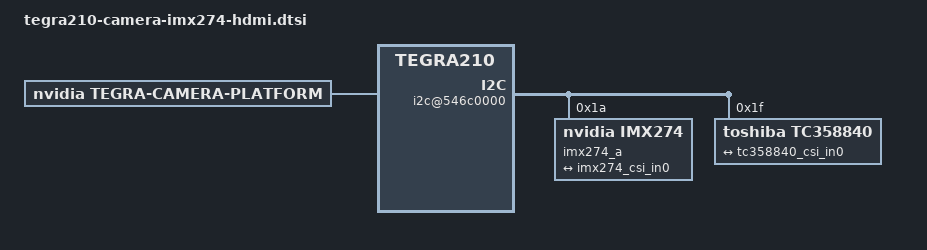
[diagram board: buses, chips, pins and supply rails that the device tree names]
/*
 * Copyright (c) 2016-2019, NVIDIA CORPORATION.  All rights reserved.
 *
 * This program is free software; you can redistribute it and/or modify
 * it under the terms of the GNU General Public License as published by
 * the Free Software Foundation; either version 2 of the License, or
 * (at your option) any later version.
 *
 * This program is distributed in the hope that it will be useful, but WITHOUT
 * ANY WARRANTY; without even the implied warranty of MERCHANTABILITY or
 * FITNESS FOR A PARTICULAR PURPOSE.  See the GNU General Public License for
 * more details.
 *
 * You should have received a copy of the GNU General Public License
 * along with this program.  If not, see <http://www.gnu.org/licenses/>.
 */

#include <dt-bindings/media/camera.h>
#include <dt-bindings/platform/t210/t210.h>

/ {
	host1x {
		vi {
			num-channels = <2>;
			ports {
				#address-cells = <1>;
				#size-cells = <0>;
				port@0 {
					reg = <0>;
					imx274_vi_in0: endpoint {
						port-index = <0>;
						bus-width = <4>;
						remote-endpoint = <&imx274_csi_out0>;
					};
				};
				port@1 {
					reg = <1>;
					tc358840_vi_in0: endpoint {
						port-index = <2>;
						bus-width = <8>;
						remote-endpoint = <&tc358840_csi_out0>;
					};
				};
			};
		};

		nvcsi {
			num-channels = <2>;
			channel@0 {
				reg = <0>;
				ports {
					#address-cells = <1>;
					#size-cells = <0>;
					port@0 {
						reg = <0>;
						imx274_csi_in0: endpoint@0 {
							port-index = <0>;
							bus-width = <4>;
							remote-endpoint = <&imx274_out0>;
						};
					};
					port@1 {
						reg = <1>;
						imx274_csi_out0: endpoint@1 {
							remote-endpoint = <&imx274_vi_in0>;
						};
					};
				};
			};
			channel@1 {
				reg = <1>;
				ports {
					#address-cells = <1>;
					#size-cells = <0>;
					port@0 {
						reg = <0>;
						tc358840_csi_in0: endpoint@2 {
							port-index = <2>;
							bus-width = <8>;
							remote-endpoint = <&tc358840_out0>;
						};
					};
					port@1 {
						reg = <1>;
						tc358840_csi_out0: endpoint@3 {
							remote-endpoint = <&tc358840_vi_in0>;
						};
					};
				};
			};
		};

	i2c@546c0000 {
		imx274_a@1a {
			compatible = "nvidia,imx274";
			/* I2C device address */
			reg = <0x1a>;

			/* V4L2 device node location */
			devnode = "video0";

			/* Physical dimensions of sensor */
			physical_w = "3.674";
			physical_h = "2.738";


			/* Define any required hw resources needed by driver */
			/* ie. clocks, io pins, power sources */
			avdd-reg = "vana";
			iovdd-reg = "vif";
			dvdd-reg = "vdig";

			/* Defines number of frames to be dropped by driver internally after applying */
			/* sensor crop settings. Some sensors send corrupt frames after applying */
			/* crop co-ordinates */
			/*post_crop_frame_drop = "0";*/

			/* if true, delay gain setting by one frame to be in sync with exposure */
			delayed_gain = "true";

			/**
			* ==== Modes ====
			* A modeX node is required to support v4l2 driver
			* implementation with NVIDIA camera software stack
			*
			* == Signal properties ==
			*
			* phy_mode = "";
			* PHY mode used by the MIPI lanes for this device
			*
			* tegra_sinterface = "";
			* CSI Serial interface connected to tegra
			* Incase of virtual HW devices, use virtual
			* For SW emulated devices, use host
			*
			* pix_clk_hz = "";
			* Sensor pixel clock used for calculations like exposure and framerate
			*
			* readout_orientation = "0";
			* Based on camera module orientation.
			* Only change readout_orientation if you specifically
			* Program a different readout order for this mode
			*
			* == Image format Properties ==
			*
			* active_w = "";
			* Pixel active region width
			*
			* active_h = "";
			* Pixel active region height
			*
			* pixel_t = "";
			* The sensor readout pixel pattern
			*
			* line_length = "";
			* Pixel line length (width) for sensor mode.
			*
			* == Source Control Settings ==
			*
			* Gain factor used to convert fixed point integer to float
			* Gain range [min_gain/gain_factor, max_gain/gain_factor]
			* Gain step [step_gain/gain_factor is the smallest step that can be configured]
			* Default gain [Default gain to be initialized for the control.
						*     use min_gain_val as default for optimal results]
			* Framerate factor used to convert fixed point integer to float
			* Framerate range [min_framerate/framerate_factor, max_framerate/framerate_factor]
			* Framerate step [step_framerate/framerate_factor is the smallest step that can be configured]
			* Default Framerate [Default framerate to be initialized for the control.
						*     use max_framerate to get required performance]
			* Exposure factor used to convert fixed point integer to float
			* For convenience use 1 sec = 1000000us as conversion factor
			* Exposure range [min_exp_time/exposure_factor, max_exp_time/exposure_factor]
			* Exposure step [step_exp_time/exposure_factor is the smallest step that can be configured]
			* Default Exposure Time [Default exposure to be initialized for the control.
						*     Set default exposure based on the default_framerate for optimal exposure settings]
			* For convenience use 1 sec = 1000000us as conversion factor
			*
			* gain_factor = ""; (integer factor used for floating to fixed point conversion)
			* min_gain_val = ""; (ceil to integer)
			* max_gain_val = ""; (ceil to integer)
			* step_gain_val = ""; (ceil to integer)
			* default_gain = ""; (ceil to integer)
			* Gain limits for mode
			*
			* exposure_factor = ""; (integer factor used for floating to fixed point conversion)
			* min_exp_time = ""; (ceil to integer)
			* max_exp_time = ""; (ceil to integer)
			* step_exp_time = ""; (ceil to integer)
			* default_exp_time = ""; (ceil to integer)
			* Exposure Time limits for mode (sec)
			*
			* framerate_factor = ""; (integer factor used for floating to fixed point conversion)
			* min_framerate = ""; (ceil to integer)
			* max_framerate = ""; (ceil to integer)
			* step_framerate = ""; (ceil to integer)
			* default_framerate = ""; (ceil to integer)
			* Framerate limits for mode (fps)
			*
			* embedded_metadata_height = "";
			* Sensor embedded metadata height in units of rows.
			* If sensor does not support embedded metadata value should be 0.
			*
			* num_of_exposure = "";
			* Digital overlap(Dol) frames
			*
			* num_of_ignored_lines = "";
			* Used for cropping, eg. OB lines + Ignored area of effective pixel lines
			*
			* num_of_lines_offset_0 = "";
			* Used for cropping, vertical blanking in front of short exposure data
			* If more Dol frames are used, it can be extended, eg. num_of_lines_offset_1
			*
			* num_of_ignored_pixels = "";
			* Used for cropping, The length of line info(pixels)
			*
			* num_of_left_margin_pixels = "";
			* Used for cropping, the size of the left edge margin before
			* the active pixel area (after ignored pixels)
			*
			* num_of_right_margin_pixels = "";
			* Used for cropping, the size of the right edge margin after
			* the active pixel area
			*/
			mode0 { // IMX274_MODE_3840X2160
				mclk_khz = "24000";
				num_lanes = "4";
				tegra_sinterface = "serial_a";
				phy_mode = "DPHY";
				discontinuous_clk = "yes";
				dpcm_enable = "false";
				cil_settletime = "0";

				active_w = "3840";
				active_h = "2160";
				mode_type = "bayer";
				pixel_phase = "rggb";
				csi_pixel_bit_depth = "10";
				readout_orientation = "90";
				line_length = "4208";
				inherent_gain = "1";
				mclk_multiplier = "24";
				pix_clk_hz = "576000000";

				gain_factor = "1000000";
				min_gain_val = "1000000";
				max_gain_val = "44400000";
				step_gain_val = "1";
				default_gain = "1000000";
				min_hdr_ratio = "1";
				max_hdr_ratio = "1";
				framerate_factor = "1000000";
				min_framerate = "1500000";
				max_framerate = "60000000";
				step_framerate = "1";
				default_framerate= "60000000";
				exposure_factor = "1000000";
				min_exp_time = "44";
				max_exp_time = "478696";
				step_exp_time = "1";
				default_exp_time = "16667";/* us */
				embedded_metadata_height = "1";
			};
			ports {
				#address-cells = <1>;
				#size-cells = <0>;

				port@0 {
					reg = <0>;
					imx274_out0: endpoint {
						port-index = <0>;
						bus-width = <4>;
						remote-endpoint = <&imx274_csi_in0>;
					};
				};
			};
		};
		tc358840@1f {
			compatible = "toshiba,tc358840";

			reg = <0x1f>;
			/* Physical dimensions of sensor */
			physical_w = "4.713";
			physical_h = "3.494";

			/* Sensor Model */
			sensor_model ="tc358840";
			devnode ="video1";
			ports {
				#address-cells = <1>;
				#size-cells = <0>;

				port@0 {
					reg = <0>;
					tc358840_out0: endpoint {
						port-index = <2>;
						bus-width = <8>;
						remote-endpoint = <&tc358840_csi_in0>;
					};
				};
			};
		};
	};
};
	tegra-camera-platform {
		compatible = "nvidia, tegra-camera-platform";
		/**
		* Physical settings to calculate max ISO BW
		*
		* num_csi_lanes = <>;
		* Total number of CSI lanes when all cameras are active
		*
		* max_lane_speed = <>;
		* Max lane speed in Kbit/s
		*
		* min_bits_per_pixel = <>;
		* Min bits per pixel
		*
		* vi_peak_byte_per_pixel = <>;
		* Max byte per pixel for the VI ISO case
		*
		* vi_bw_margin_pct = <>;
		* Vi bandwidth margin in percentage
		*
		* max_pixel_rate = <>;
		* Max pixel rate in Kpixel/s for the ISP ISO case
		*
		* isp_peak_byte_per_pixel = <>;
		* Max byte per pixel for the ISP ISO case
		*
		* isp_bw_margin_pct = <>;
		* Isp bandwidth margin in percentage
		*/
		num_csi_lanes = <4>;
		max_lane_speed = <1500000>;
		min_bits_per_pixel = <10>;
		vi_peak_byte_per_pixel = <2>;
		vi_bw_margin_pct = <25>;
		max_pixel_rate = <750000>;
		isp_peak_byte_per_pixel = <5>;
		isp_bw_margin_pct = <25>;

		/**
		* The general guideline for naming badge_info contains 3 parts, and is as follows,
		* The first part is the camera_board_id for the module; if the module is in a FFD
		* platform, then use the platform name for this part.
		* The second part contains the position of the module, ex. “rear” or “front”.
		* The third part contains the last 6 characters of a part number which is found
		* in the module's specsheet from the vender.
		*/
		modules {
			module0 {
				badge = "imx274_front_A6V24";
				position = "rear";
				status = "okay";
				orientation = "1";
				drivernode0 {
					/* Declare PCL support driver (classically known as guid)  */
					pcl_id = "v4l2_sensor";
					devname = "imx274 6-001a";
					status = "okay";
					/* Declare the device-tree hierarchy to driver instance */
					proc-device-tree = "/proc/device-tree/host1x/i2c@546c0000/imx274_a@1a";
				};
			};
		};
	};
};
